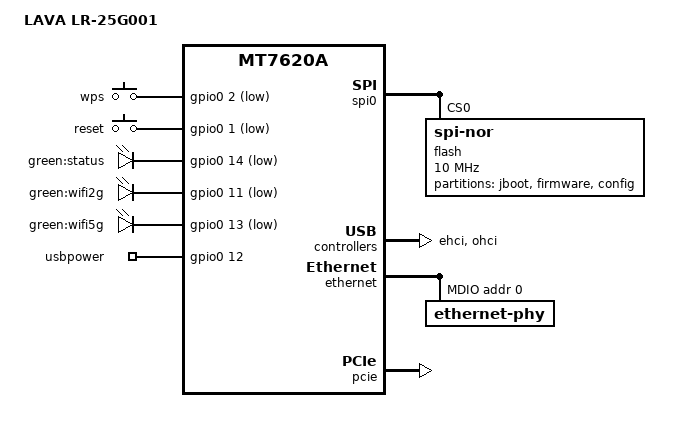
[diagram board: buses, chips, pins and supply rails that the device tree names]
#include "mt7620a.dtsi"

#include <dt-bindings/gpio/gpio.h>
#include <dt-bindings/input/input.h>
#include <dt-bindings/mtd/partitions/uimage.h>

/ {
	compatible = "lava,lr-25g001", "ralink,mt7620a-soc";
	model = "LAVA LR-25G001";

	aliases {
		led-boot = &led_status;
		led-failsafe = &led_status;
		led-running = &led_status;
		led-upgrade = &led_status;
	};

	keys {
		compatible = "gpio-keys";

		wps {
			label = "wps";
			gpios = <&gpio0 2 GPIO_ACTIVE_LOW>;
			linux,code = <KEY_WPS_BUTTON>;
		};

		reset {
			label = "reset";
			gpios = <&gpio0 1 GPIO_ACTIVE_LOW>;
			linux,code = <KEY_RESTART>;
		};
	};

	leds {
		compatible = "gpio-leds";

		led_status: status {
			label = "green:status";
			gpios = <&gpio0 14 GPIO_ACTIVE_LOW>;
		};

		wifi2g {
			label = "green:wifi2g";
			gpios = <&gpio0 11 GPIO_ACTIVE_LOW>;
			linux,default-trigger = "phy1tpt";
		};

		wifi5g {
			label = "green:wifi5g";
			gpios = <&gpio0 13 GPIO_ACTIVE_LOW>;
			linux,default-trigger = "phy0tpt";
		};
	};

	gpio_export {
		compatible = "gpio-export";
		#size-cells = <0>;

		usbpower {
			gpio-export,name = "usbpower";
			gpio-export,output = <1>;
			gpios = <&gpio0 12 GPIO_ACTIVE_HIGH>;
		};
	};
};

&spi0 {
	status = "okay";

	flash@0 {
		compatible = "jedec,spi-nor";
		reg = <0>;
		spi-max-frequency = <10000000>;

		partitions {
			compatible = "fixed-partitions";
			#address-cells = <1>;
			#size-cells = <1>;

			partition@0 {
				label = "jboot";
				reg = <0x0 0x10000>;
				read-only;
			};

			partition@10000 {
				compatible = "openwrt,uimage", "denx,uimage";
				openwrt,ih-magic = <IH_MAGIC_OKLI>;
				openwrt,offset = <0x10000>;
				label = "firmware";
				reg = <0x10000 0xfe0000>;
			};

			config: partition@ff0000 {
				label = "config";
				reg = <0xff0000 0x10000>;
				read-only;
			};
		};
	};
};

&ehci {
	status = "okay";
};

&ohci {
	status = "okay";
};

&ethernet {
	pinctrl-names = "default";
	pinctrl-0 = <&rgmii1_pins &rgmii2_pins &mdio_pins>;

	port@5 {
		status = "okay";
		phy-mode = "rgmii";
		mediatek,fixed-link = <1000 1 1 1>;
	};

	mdio-bus {
		status = "okay";

		ethernet-phy@0 {
			reg = <0>;
			phy-mode = "rgmii";
			qca,ar8327-initvals = <
				0x04 0x87300000 /* PORT0 PAD MODE CTRL */
				0x0c 0x00000000 /* PORT6 PAD MODE CTRL */
				0x7c 0x0000007e /* PORT0_STATUS */
				0x80 0x00001200 /* PORT1_STATUS */
				0x84 0x00001200 /* PORT2_STATUS */
				0x88 0x00001200 /* PORT3_STATUS */
				0x8c 0x00001200 /* PORT4_STATUS */
				0x90 0x00001200 /* PORT5_STATUS */
				0x94 0x00000000 /* PORT6_STATUS */
			>;
		};
	};
};

&gsw {
	mediatek,ephy-base = /bits/ 8 <8>;
};

&pcie {
	status = "okay";
};

&pcie0 {
	mt76x0e@0,0 {
		reg = <0x0000 0 0 0 0>;
		nvmem-cells = <&macaddr_config_e07e>;
		nvmem-cell-names = "mac-address";
		mac-address-increment = <(2)>;
		mediatek,mtd-eeprom = <&config 0xe08a>;
	};
};

&state_default {
	gpio {
		groups = "uartf", "i2c";
		function = "gpio";
	};
};

&config {
	compatible = "nvmem-cells";
	#address-cells = <1>;
	#size-cells = <1>;

	macaddr_config_e07e: macaddr@e07e {
		reg = <0xe07e 0x6>;
	};
};
